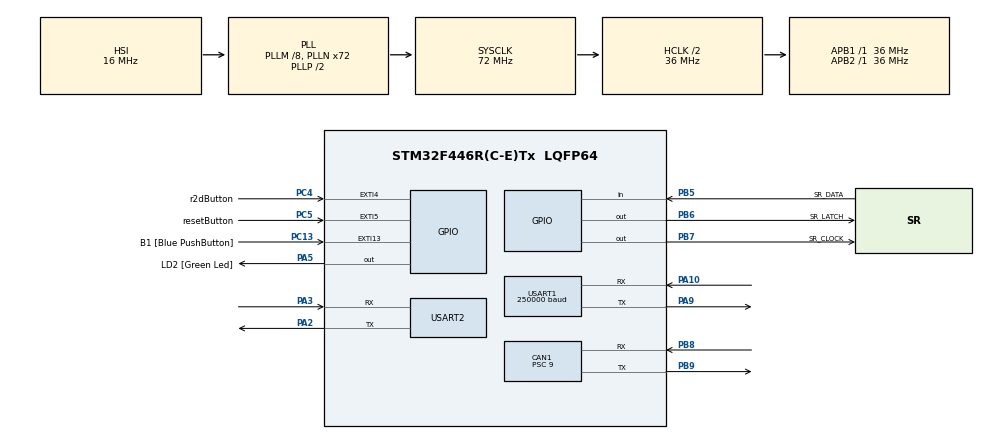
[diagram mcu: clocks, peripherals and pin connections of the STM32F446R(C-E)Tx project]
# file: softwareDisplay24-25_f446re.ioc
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CAN1.ABOM=ENABLE
CAN1.BS1=CAN_BS1_3TQ
CAN1.BS2=CAN_BS2_4TQ
CAN1.CalculateBaudRate=500000
CAN1.CalculateTimeBit=2000
CAN1.CalculateTimeQuantum=250.0
CAN1.Prescaler=9
Mcu.Family=STM32F4
Mcu.Name=STM32F446R(C-E)Tx
Mcu.Package=LQFP64
NVIC.CAN1_RX0_IRQn=true\:0\:0\:false\:false\:true\:true\:true\:true
NVIC.CAN1_RX1_IRQn=true\:0\:0\:false\:false\:true\:true\:true\:true
NVIC.CAN1_TX_IRQn=true\:0\:0\:false\:false\:true\:true\:true\:true
NVIC.EXTI15_10_IRQn=true\:0\:0\:false\:false\:true\:true\:true\:true
NVIC.EXTI4_IRQn=true\:0\:0\:false\:false\:true\:true\:true\:true
NVIC.EXTI9_5_IRQn=true\:0\:0\:false\:false\:true\:true\:true\:true
NVIC.PriorityGroup=NVIC_PRIORITYGROUP_0
NVIC.TIM2_IRQn=true\:0\:0\:false\:false\:true\:true\:true\:true
NVIC.TIM3_IRQn=true\:0\:0\:false\:false\:true\:true\:true\:true
PA10.Mode=Asynchronous
PA10.Signal=USART1_RX
PA13.GPIO_Label=TMS
PA13.Mode=Serial_Wire
PA13.Signal=SYS_JTMS-SWDIO
PA14.GPIO_Label=TCK
PA14.Mode=Serial_Wire
PA14.Signal=SYS_JTCK-SWCLK
PA2.Mode=Asynchronous
PA2.Signal=USART2_TX
PA3.Mode=Asynchronous
PA3.Signal=USART2_RX
PA5.GPIO_Label=LD2 [Green Led]
PA5.Signal=GPIO_Output
PA9.Mode=Asynchronous
PA9.Signal=USART1_TX
PB3.GPIO_Label=SWO
PB3.Signal=SYS_JTDO-SWO
PB5.GPIO_Label=SR_DATA
PB5.Signal=GPIO_Input
PB6.GPIO_Label=SR_LATCH
PB6.Signal=GPIO_Output
PB7.GPIO_Label=SR_CLOCK
PB7.Signal=GPIO_Output
PB8.Mode=CAN_Activate
PB8.Signal=CAN1_RX
PB9.Mode=CAN_Activate
PB9.Signal=CAN1_TX
PC13.GPIO_Label=B1 [Blue PushButton]
PC13.GPIO_ModeDefaultEXTI=GPIO_MODE_IT_FALLING
PC13.Signal=GPXTI13
PC14-OSC32_IN.Mode=LSE-External-Oscillator
PC14-OSC32_IN.Signal=RCC_OSC32_IN
PC15-OSC32_OUT.Mode=LSE-External-Oscillator
PC15-OSC32_OUT.Signal=RCC_OSC32_OUT
PC4.GPIO_Label=r2dButton
PC4.GPIO_ModeDefaultEXTI=GPIO_MODE_IT_FALLING
PC4.GPIO_PuPd=GPIO_PULLUP
PC4.Signal=GPXTI4
PC5.GPIO_Label=resetButton
PC5.GPIO_ModeDefaultEXTI=GPIO_MODE_IT_FALLING
PC5.GPIO_PuPd=GPIO_PULLUP
PC5.Signal=GPXTI5
PH0-OSC_IN.Mode=HSE-External-Oscillator
PH0-OSC_IN.Signal=RCC_OSC_IN
PH1-OSC_OUT.Mode=HSE-External-Oscillator
PH1-OSC_OUT.Signal=RCC_OSC_OUT
ProjectManager.HeapSize=0x200
ProjectManager.StackSize=0x400
ProjectManager.TargetToolchain=STM32CubeIDE
RCC.48MHZClocksFreq_Value=84000000
RCC.AHBCLKDivider=RCC_SYSCLK_DIV2
RCC.AHBFreq_Value=36000000
RCC.APB1Freq_Value=36000000
RCC.APB1TimFreq_Value=36000000
RCC.APB2Freq_Value=36000000
RCC.APB2TimFreq_Value=36000000
RCC.CortexFreq_Value=36000000
RCC.FLatency-AdvancedSettings=FLASH_LATENCY_1
RCC.HCLKFreq_Value=36000000
RCC.HSE_VALUE=8000000
RCC.HSI_VALUE=16000000
RCC.PLLM=8
RCC.PLLN=72
RCC.SYSCLKFreq_VALUE=72000000
RCC.SYSCLKSource=RCC_SYSCLKSOURCE_PLLCLK
RCC.USBFreq_Value=72000000
RCC.VCOOutputFreq_Value=144000000
TIM2.AutoReloadPreload=TIM_AUTORELOAD_PRELOAD_ENABLE
TIM2.Period=24999
TIM2.Prescaler=3599
TIM3.AutoReloadPreload=TIM_AUTORELOAD_PRELOAD_ENABLE
TIM3.Period=17999
TIM3.Prescaler=3599
USART1.BaudRate=250000
USART1.Mode=MODE_TX_RX
USART1.VirtualMode=VM_ASYNC
USART2.VirtualMode=VM_ASYNC
VP_TIM2_VS_ClockSourceINT.Mode=Internal
VP_TIM3_VS_ClockSourceINT.Mode=Internal
VP_TIM3_VS_OPM.Mode=OPM_bit
board=NUCLEO-F446RE

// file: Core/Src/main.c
/* USER CODE BEGIN Header */
/**
  ******************************************************************************
  * @file           : main.c
  * @brief          : Main program body
  ******************************************************************************
  * @attention
  *
  * Copyright (c) 2025 STMicroelectronics.
  * All rights reserved.
  *
  * This software is licensed under terms that can be found in the LICENSE file
  * in the root directory of this software component.
  * If no LICENSE file comes with this software, it is provided AS-IS.
  *
  ******************************************************************************
  */
/* USER CODE END Header */
#include "main.h"
#include "can.h"
#include "tim.h"
#include "usart.h"
#include "gpio.h"

/* USER CODE BEGIN Includes */
#include "shift_register.h"
#include <string.h>
#include <stdlib.h>
/* USER CODE END Includes */

/* USER CODE BEGIN PD */
#define DISPLAY_COLOR_RED 63488
#define DISPLAY_COLOR_GREEN 1856
/* USER CODE END PD */

/* USER CODE BEGIN PV */

volatile uint8_t flagErroreInCorso = 0;
uint16_t ultimoErroreRicevuto = 0;
uint8_t errorValue = 0;
/*
* 1 - speed
* 2 - SOC
* 3 - tmpInverter
* 4 - tmpEngine
* 5 - tmpBatteries
* 6 - tmpFans
* 7 - Engine MAP
* 8 - R2D
* 9 - ErrorValue
*/

int canBUS_RX = 0;
int USART_TX = 0;

volatile uint8_t flagStartingOK = 0;
volatile uint8_t flagNewMap=0;
uint16_t freniData = 0;
uint16_t r2dData = 0;
uint16_t mapData = 0;
CAN_TxHeaderTypeDef r2dTxHeader, mapTxHeader;
CAN_FilterTypeDef can_filter;
CAN_RxHeaderTypeDef RxHeader;
uint8_t RxData[8];
uint32_t TxMailbox;

uint16_t vehicleSpeed = 0;
uint16_t tempAvgBat=25;
uint16_t tempAvgMot=25;
uint16_t tempAvgInverter=25;
uint16_t battery_SOC = 100;
uint16_t tempAvgFan=30;
uint8_t newData = 0;

uint32_t millisFlagsInterrupt[NFlagsInterrupt];	//indica quando è stato chiamato quell'interrupt | x pulsanti
volatile uint8_t flagsUsable[NFlagsInterrupt] = {1};

uint8_t cmd_end[3] = {0xFF,0xFF,0xFF}; //per inviare il comando

DisplayElement vars[NData] =  {
		{"SpeedValue.txt",&vehicleSpeed,1,0},
		{"valSOC.val",&battery_SOC,1,0},
		{"valTempInv.val",&tempAvgInverter,1,0},
		{"valTempEng.val",&tempAvgMot,1,0},
		{"valTempBat.val",&tempAvgBat,1,0},
		{"valTempFan.val",&tempAvgFan,1,0},	//5
		{"MapValue.txt",&mapData,0,0},
		{"R2DValue.pco",&r2dData,0,0},
		{"ErrorValue.txt",&errorValue,0,0}
};
//		*(vars[i].value)

uint32_t lastSignal = 0;
/* USER CODE END PV */

void SystemClock_Config(void);

int main(void)
{

  /* USER CODE BEGIN 1 */
	  char msg[60] = " ";
	  int len;
  /* USER CODE END 1 */

  /* MCU Configuration--------------------------------------------------------*/

  /* Reset of all peripherals, Initializes the Flash interface and the Systick. */
  HAL_Init();

  /* Configure the system clock */
  SystemClock_Config();

  /* Initialize all configured peripherals */
  MX_GPIO_Init();
  MX_CAN1_Init();
  MX_TIM2_Init();
  MX_TIM3_Init();
  MX_USART1_UART_Init();
  MX_USART2_UART_Init();
  /* USER CODE BEGIN 2 */
  HAL_Delay(100);
  HAL_GPIO_TogglePin(LD2_GPIO_Port,LD2_Pin);
  HAL_Delay(100);
  len = sprintf(msg, "page logoStart");
  HAL_UART_Transmit(&huart1,(uint8_t*)msg,len,HAL_MAX_DELAY);
  HAL_UART_Transmit(&huart1,cmd_end,3,HAL_MAX_DELAY); //invio comandi = esegue
  HAL_Delay(1200);	//delay - animation
  HAL_GPIO_TogglePin(LD2_GPIO_Port,LD2_Pin);

  uint32_t currMillis = HAL_GetTick();

  uint32_t lastUsartSent = 0;
  len = sprintf(msg, "page main");
  HAL_UART_Transmit(&huart1,(uint8_t*)msg,len,HAL_MAX_DELAY);
  HAL_UART_Transmit(&huart1,cmd_end,3,HAL_MAX_DELAY); //invio comandi = esegue

  CAN_setup();	//avvia il CAN + filtro

  flagStartingOK = 1;
  /* USER CODE END 2 */

  /* Infinite loop */
  /* USER CODE BEGIN WHILE */
  while (1)
  {
	  currMillis = HAL_GetTick();

	  if(!flagNewMap){
		  for(uint8_t i=0;i<NData;i++ ){
			  currMillis = HAL_GetTick();
			  if ((vars[i].flag == 1 || currMillis-vars[i].lastSent>2000) ){
				  /*
				  if(i==4){
					  break;
				  }
				  */
				  //to send to the nextion
				  //lastUsartSent=currMillis;
				  vars[i].flag = 0;
				  vars[i].lastSent=currMillis;
				  NEXTION_SendString(vars[i].element,*vars[i].value, i);
				  HAL_Delay(5);
			  }
			  if(i==6){
				  MapValue();
			  }
		  }
	  }
	 //HAL_Delay(1);

  for (uint8_t i=0;i<NFlagsInterrupt;i++){						//aiuta ad evitare doppio click
	  if(!flagsUsable[i]){
		  if(HAL_GetTick() - millisFlagsInterrupt[i] > 750){
				 flagsUsable[i] = 1;
		  }
	  }
  }

  currMillis = HAL_GetTick();
  if(currMillis-lastSignal>1200){
  	  len = sprintf(msg, "signal.val=1");
  	  msg[len]=0xFF;msg[len+1]=0xFF;msg[len+2]=0xFF;
  	  /*
  	  HAL_UART_Transmit(&huart1,(uint8_t*)msg,len+3,HAL_MAX_DELAY);
  	  lastSignal = currMillis;
  	  len = sprintf(msg,"\n\rCAN_RX: %d\n\rUSART_TX: %d\n\r",canBUS_RX,USART_TX);
  	  HAL_UART_Transmit(&huart1, (uint8_t*)msg,len,HAL_MAX_DELAY);
  	  len = sprintf(msg,"CAN_RX: %d\n\rUSART_TX: %d\n\r",canBUS_RX,USART_TX);
  	  HAL_UART_Transmit(&huart2, (uint8_t*)msg,len,HAL_MAX_DELAY);
  	  */
  }
  HAL_Delay(1);

    /* USER CODE END WHILE */

  }
}

void SystemClock_Config(void)
{
  RCC_OscInitTypeDef RCC_OscInitStruct = {0};
  RCC_ClkInitTypeDef RCC_ClkInitStruct = {0};

  /** Configure the main internal regulator output voltage
  */
  __HAL_RCC_PWR_CLK_ENABLE();
  __HAL_PWR_VOLTAGESCALING_CONFIG(PWR_REGULATOR_VOLTAGE_SCALE3);

  /** Initializes the RCC Oscillators according to the specified parameters
  * in the RCC_OscInitTypeDef structure.
  */
  RCC_OscInitStruct.OscillatorType = RCC_OSCILLATORTYPE_HSI;
  RCC_OscInitStruct.HSIState = RCC_HSI_ON;
  RCC_OscInitStruct.HSICalibrationValue = RCC_HSICALIBRATION_DEFAULT;
  RCC_OscInitStruct.PLL.PLLState = RCC_PLL_ON;
  RCC_OscInitStruct.PLL.PLLSource = RCC_PLLSOURCE_HSI;
  RCC_OscInitStruct.PLL.PLLM = 8;
  RCC_OscInitStruct.PLL.PLLN = 72;
  RCC_OscInitStruct.PLL.PLLP = RCC_PLLP_DIV2;
  RCC_OscInitStruct.PLL.PLLQ = 2;
  RCC_OscInitStruct.PLL.PLLR = 2;
  if (HAL_RCC_OscConfig(&RCC_OscInitStruct) != HAL_OK)
  {
    Error_Handler();
  }

  /** Initializes the CPU, AHB and APB buses clocks
  */
  RCC_ClkInitStruct.ClockType = RCC_CLOCKTYPE_HCLK|RCC_CLOCKTYPE_SYSCLK
                              |RCC_CLOCKTYPE_PCLK1|RCC_CLOCKTYPE_PCLK2;
  RCC_ClkInitStruct.SYSCLKSource = RCC_SYSCLKSOURCE_PLLCLK;
  RCC_ClkInitStruct.AHBCLKDivider = RCC_SYSCLK_DIV2;
  RCC_ClkInitStruct.APB1CLKDivider = RCC_HCLK_DIV1;
  RCC_ClkInitStruct.APB2CLKDivider = RCC_HCLK_DIV1;

  if (HAL_RCC_ClockConfig(&RCC_ClkInitStruct, FLASH_LATENCY_1) != HAL_OK)
  {
    Error_Handler();
  }
}

/* USER CODE BEGIN 4 */
//comunica con il nextion, inva messaggi tipo "oggetto.txt/val = {valore}" + 3volte comando 0xFF per eseguire
void NEXTION_SendString (char* elemento,int valore,int index){ //tipo può essere txt o val
	char buff[50];
	int len;
	switch (index){
		case 0:
		case 6:
			len = sprintf(buff,"%s=\"%d\"",elemento,valore);
			buff[len]=0xFF;buff[len+1]=0xFF;buff[len+2]=0xFF;
			HAL_UART_Transmit(&huart1,(uint8_t*)buff,len+3,HAL_MAX_DELAY);
			break;
		case 7:	//r2d
			if(valore==1){
				len = sprintf(buff,"%s=%d",elemento,DISPLAY_COLOR_GREEN);
			} else if (valore==0){
				len = sprintf(buff,"%s=%d",elemento,DISPLAY_COLOR_RED);
			}
			buff[len]=0xFF;buff[len+1]=0xFF;buff[len+2]=0xFF;
			HAL_UART_Transmit(&huart1,(uint8_t*)buff,len+3,HAL_MAX_DELAY);
			break;
		case 8:						//flagErrore = 1
			//caso errore
			if(!flagErroreInCorso){
				NEXTION_SendString("ErrorValue.txt",0, 12);
			}
			break;
		case 11:		//accendiErrore
			len = sprintf(buff,"vis ErrorValue,1",elemento);
			buff[len]=0xFF;buff[len+1]=0xFF;buff[len+2]=0xFF;
			HAL_UART_Transmit(&huart1,(uint8_t*)buff,len+3,HAL_MAX_DELAY);
			len = sprintf(buff,"vis t0,1");
			buff[len]=0xFF;buff[len+1]=0xFF;buff[len+2]=0xFF;
			HAL_UART_Transmit(&huart1,(uint8_t*)buff,len+3,HAL_MAX_DELAY);
			len = sprintf(buff,"ErrorValue.txt=\"%d\"",errorValue);
			buff[len]=0xFF;buff[len+1]=0xFF;buff[len+2]=0xFF;
			HAL_UART_Transmit(&huart1,(uint8_t*)buff,len+3,HAL_MAX_DELAY);
			len = sprintf(buff,"vis ErrorBar1,1");
			buff[len]=0xFF;buff[len+1]=0xFF;buff[len+2]=0xFF;
			HAL_UART_Transmit(&huart1,(uint8_t*)buff,len+3,HAL_MAX_DELAY);
			len = sprintf(buff,"vis ErrorBar2,1");
			buff[len]=0xFF;buff[len+1]=0xFF;buff[len+2]=0xFF;
			HAL_UART_Transmit(&huart1,(uint8_t*)buff,len+3,HAL_MAX_DELAY);
			break;
		case 12:		//spegniErrore
			len = sprintf(buff,"vis ErrorValue,0",elemento);
			buff[len]=0xFF;buff[len+1]=0xFF;buff[len+2]=0xFF;
			HAL_UART_Transmit(&huart1,(uint8_t*)buff,len+3,HAL_MAX_DELAY);
			len = sprintf(buff,"vis ErrorBar1,0");
			buff[len]=0xFF;buff[len+1]=0xFF;buff[len+2]=0xFF;
			HAL_UART_Transmit(&huart1,(uint8_t*)buff,len+3,HAL_MAX_DELAY);
			len = sprintf(buff,"vis ErrorBar2,0");
			buff[len]=0xFF;buff[len+1]=0xFF;buff[len+2]=0xFF;
			HAL_UART_Transmit(&huart1,(uint8_t*)buff,len+3,HAL_MAX_DELAY);
			len = sprintf(buff,"vis t0,0");
			buff[len]=0xFF;buff[len+1]=0xFF;buff[len+2]=0xFF;
			HAL_UART_Transmit(&huart1,(uint8_t*)buff,len+3,HAL_MAX_DELAY);
			break;
		case 1:
			//USART_TX++;
		default:
			//general Case -> int value
			len = sprintf(buff,"%s=%d",elemento,valore);
			buff[len]=0xFF;buff[len+1]=0xFF;buff[len+2]=0xFF;
			HAL_UART_Transmit(&huart1,(uint8_t*)buff,len+3,HAL_MAX_DELAY);
			break;
		}
}

void MapValue(){
	if (flagStartingOK == 1){
		char msg[35] = " ";
		int len;
		if(!flagNewMap && checkMapValue()){
			flagNewMap=1;
			len = sprintf(msg,"page MapPopUp");
			msg[len]=0xFF;msg[len+1]=0xFF;msg[len+2]=0xFF;
			HAL_UART_Transmit(&huart1,(uint8_t*)msg,len+3,HAL_MAX_DELAY);
			len = sprintf(msg,"mapValue.txt=\"%d\"",mapData);
			msg[len]=0xFF;msg[len+1]=0xFF;msg[len+2]=0xFF;
			HAL_UART_Transmit(&huart1,(uint8_t*)msg,len+3,HAL_MAX_DELAY);
			HAL_TIM_Base_Start_IT(&htim3); //avvia timer in mode one-pulse
		}
	}
}

void system_reset() {
	char msg[35] = " ";
	int len = sprintf(msg,"rest");
	msg[len]=0xFF;msg[len+1]=0xFF;msg[len+2]=0xFF;
	HAL_UART_Transmit_IT(&huart1,(uint8_t*)msg,len+3);
	__disable_irq(); //disable all interrupts
	NVIC_SystemReset();	//reset the microcontroller, continue to power pins
}

/* USER CODE END 4 */

void Error_Handler(void)
{
  __disable_irq();
  while (1)
  {
  }
}
